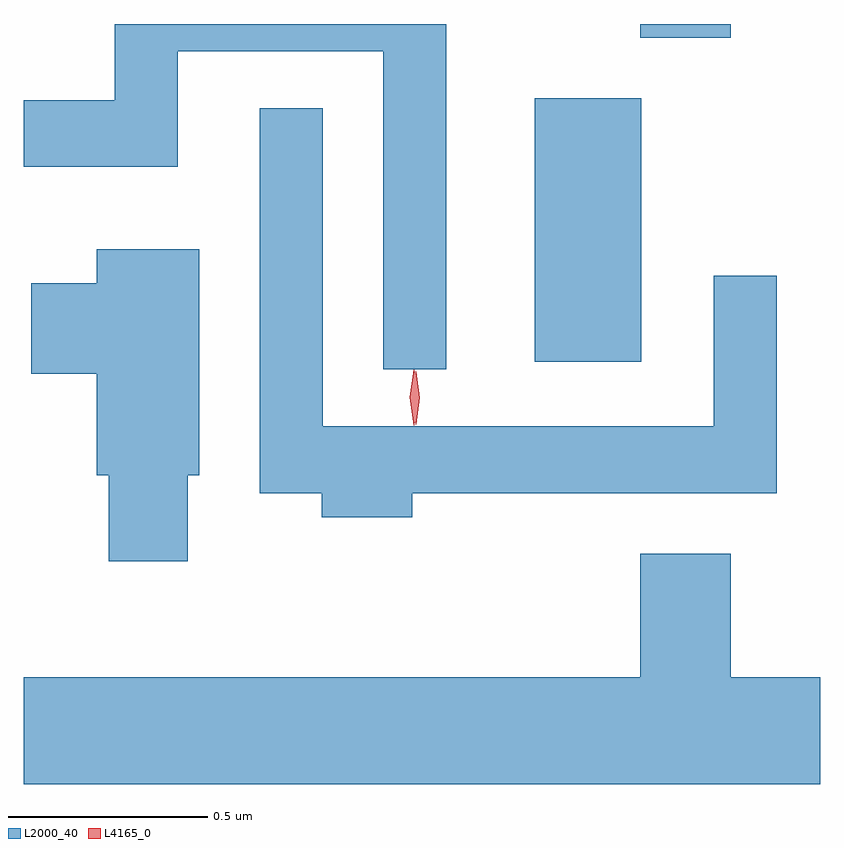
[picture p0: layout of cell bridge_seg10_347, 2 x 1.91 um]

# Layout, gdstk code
import gdstk
lib = gdstk.Library(unit=1e-6, precision=1e-09)
def R(c, l, rs):  # rectangles x0, y0, x1, y1
    for r in rs: c.add(gdstk.rectangle(r[:2], r[2:], *l))
def P(c, l, *ps):  # polygons
    for p in ps: c.add(gdstk.Polygon(p, *l))
L2000_40 = (2000, 40)
L4165_0 = (4165, 0)

bridge_seg10_347 = lib.new_cell('bridge_seg10_347')
R(bridge_seg10_347, L2000_40, [(1399.996,2152.716,1400.264,2153.379), (1400.261,2153.531,1400.489,2153.565)])
P(bridge_seg10_347, L2000_40, [(1399.774,2153.565),(1398.941,2153.565),(1398.941,2153.374),(1398.713,2153.374),(1398.713,2153.206),(1399.099,2153.206),(1399.099,2153.496),(1399.616,2153.496),(1399.616,2152.698),(1399.774,2152.698)],
  [(1399.689,2152.386),(1400.604,2152.386),(1400.604,2152.933),(1400.446,2152.933),(1400.446,2152.554),(1399.464,2152.554),(1399.464,2153.353),(1399.306,2153.353),(1399.306,2152.386),(1399.461,2152.386),(1399.461,2152.326),(1399.689,2152.326)],
  [(1399.124,2152.431),(1399.154,2152.431),(1399.154,2152.999),(1398.896,2152.999),(1398.896,2152.914),(1398.731,2152.914),(1398.731,2152.686),(1398.896,2152.686),(1398.896,2152.431),(1398.926,2152.431),(1398.926,2152.216),(1399.124,2152.216)],
  [(1400.713,2151.924),(1400.489,2151.924),(1400.489,2152.234),(1400.261,2152.234),(1400.261,2151.924),(1398.713,2151.924),(1398.713,2151.656),(1400.713,2151.656)])
P(bridge_seg10_347, L4165_0, [(1399.697,2152.559),(1399.697,2152.56),(1399.687,2152.626),(1399.697,2152.692),(1399.697,2152.693),(1399.698,2152.692),(1399.707,2152.626),(1399.698,2152.56)],
  [(1399.692,2152.557),(1399.692,2152.557),(1399.682,2152.627),(1399.692,2152.696),(1399.692,2152.696),(1399.693,2152.696),(1399.702,2152.627),(1399.693,2152.557)])

lib.write_gds('bridge_seg10_347.gds')
